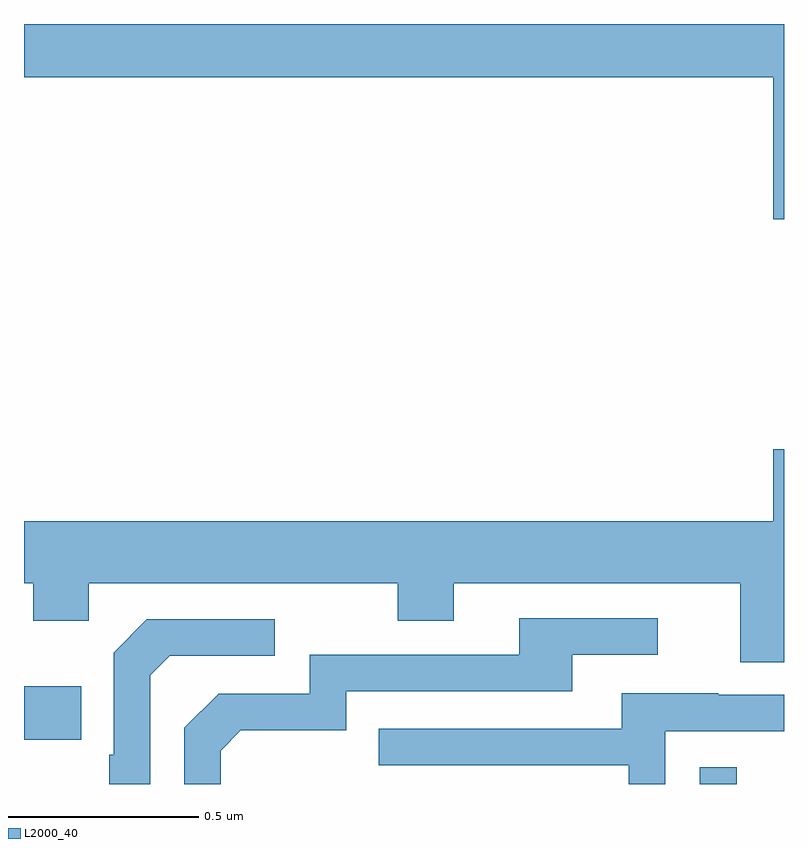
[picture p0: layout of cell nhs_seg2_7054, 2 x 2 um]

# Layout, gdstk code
import gdstk
lib = gdstk.Library(unit=1e-6, precision=1e-09)
def R(c, l, rs):  # rectangles x0, y0, x1, y1
    for r in rs: c.add(gdstk.rectangle(r[:2], r[2:], *l))
def P(c, l, *ps):  # polygons
    for p in ps: c.add(gdstk.Polygon(p, *l))
L2000_40 = (2000, 40)

nhs_seg2_7054 = lib.new_cell('nhs_seg2_7054')
R(nhs_seg2_7054, L2000_40, [(200.778,621.8,200.875,621.844), (199,621.917,199.151,622.057)])
P(nhs_seg2_7054, L2000_40, [(201,623.8),(199,623.8),(199,623.66),(200.972,623.66),(200.972,623.286),(201,623.286)],
  [(201,622.681),(200.972,622.681),(200.972,622.492),(199,622.492),(199,622.328),(199.024,622.328),(199.024,622.229),(199.17,622.229),(199.17,622.328),(199.984,622.328),(199.984,622.229),(200.131,622.229),(200.131,622.328),(200.885,622.328),(200.885,622.12),(201,622.12)],
  [(199.518,621.888),(199.571,621.941),(199.848,621.941),(199.848,622.044),(200.443,622.044),(200.443,622.14),(200.668,622.14),(200.668,622.236),(200.303,622.236),(200.303,622.14),(199.752,622.14),(199.752,622.038),(199.512,622.038),(199.422,621.948),(199.422,621.8),(199.518,621.8)],
  [(199.332,622.086),(199.383,622.137),(199.66,622.137),(199.66,622.233),(199.323,622.233),(199.236,622.146),(199.236,621.877),(199.224,621.877),(199.224,621.8),(199.332,621.8)],
  [(200.688,621.939),(201,621.939),(201,622.035),(200.827,622.035),(200.827,622.039),(200.573,622.039),(200.573,621.945),(199.933,621.945),(199.933,621.849),(200.592,621.849),(200.592,621.8),(200.688,621.8)])

lib.write_gds('nhs_seg2_7054.gds')
